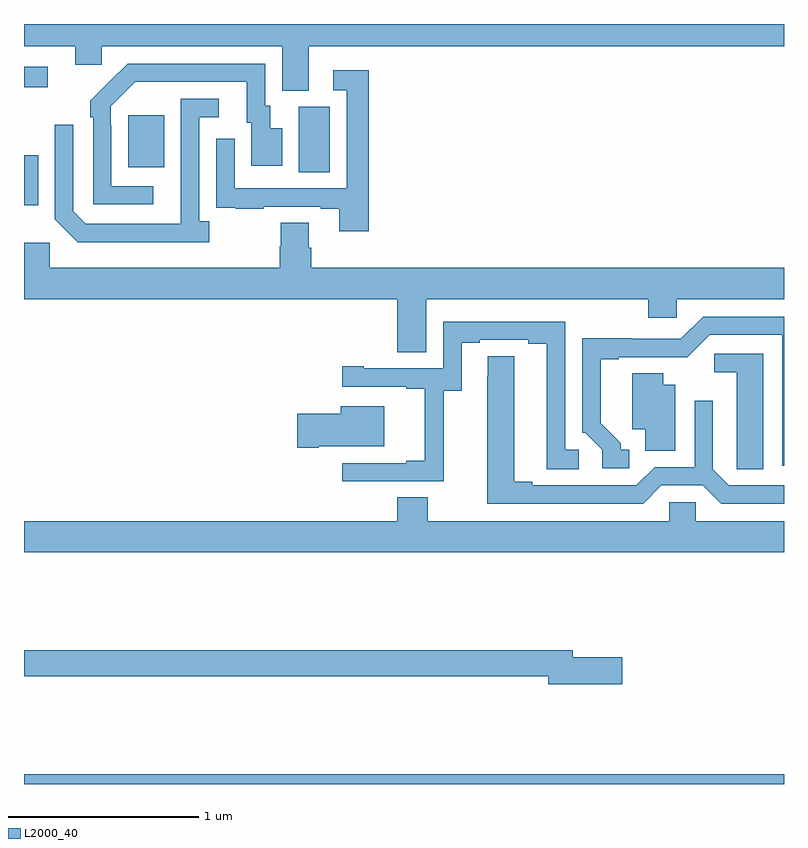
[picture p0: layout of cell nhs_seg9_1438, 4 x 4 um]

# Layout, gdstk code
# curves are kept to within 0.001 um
import gdstk
lib = gdstk.Library(unit=1e-6, precision=1e-09)
def R(c, l, rs):  # rectangles x0, y0, x1, y1
    for r in rs: c.add(gdstk.rectangle(r[:2], r[2:], *l))
def P(c, l, *ps):  # polygons
    for p in ps: c.add(gdstk.Polygon(p, *l))
L2000_40 = (2000, 40)

nhs_seg9_1438 = lib.new_cell('nhs_seg9_1438')
R(nhs_seg9_1438, L2000_40, [(191,1228.5,195,1228.552), (191,1231.546,191.074,1231.81), (192.446,1231.72,192.61,1232.064), (191.549,1231.745,191.737,1232.02), (191,1232.166,191.125,1232.274)])
P(nhs_seg9_1438, L2000_40, [(192.499,1232.384),(195,1232.384),(195,1232.5),(191,1232.5),(191,1232.384),(191.27,1232.384),(191.27,1232.286),(191.409,1232.286),(191.409,1232.384),(192.359,1232.384),(192.359,1232.149),(192.499,1232.149)],
  [(191.68,1231.647),(191.46,1231.647),(191.46,1231.967),(191.457,1231.967),(191.457,1232.067),(191.586,1232.196),(192.173,1232.196),(192.173,1231.98),(192.197,1231.98),(192.197,1231.755),(192.358,1231.755),(192.358,1231.951),(192.295,1231.951),(192.295,1232.07),(192.27,1232.07),(192.27,1232.292),(191.546,1232.292),(191.349,1232.097),(191.349,1232.009),(191.364,1232.009),(191.364,1231.551),(191.68,1231.551)],
  [(192.815,1232.257),(192.627,1232.257),(192.627,1232.151),(192.699,1232.151),(192.699,1231.635),(192.108,1231.635),(192.108,1231.897),(192.012,1231.897),(192.012,1231.642),(192.013,1231.642),(192.013,1231.533),(192.115,1231.533),(192.115,1231.527),(192.263,1231.527),(192.263,1231.539),(192.563,1231.539),(192.563,1231.527),(192.659,1231.527),(192.659,1231.41),(192.815,1231.41)],
  [(191.974,1231.462),(191.922,1231.462),(191.922,1232.01),(192.025,1232.01),(192.025,1232.106),(191.826,1232.106),(191.825,1231.449),(191.325,1231.449),(191.259,1231.515),(191.259,1231.969),(191.163,1231.969),(191.163,1231.473),(191.284,1231.352),(191.974,1231.352)],
  [(193.117,1231.052),(194.285,1231.052),(194.285,1230.954),(194.436,1230.954),(194.436,1231.052),(195,1231.052),(195,1231.216),(192.512,1231.216),(192.512,1231.322),(192.499,1231.322),(192.499,1231.454),(192.352,1231.454),(192.352,1231.329),(192.347,1231.329),(192.347,1231.216),(191.136,1231.216),(191.136,1231.348),(191,1231.348),(191,1231.052),(192.965,1231.052),(192.965,1230.772),(193.117,1230.772)],
  [(194.185,1230.258),(194.14,1230.258),(194.14,1230.293),(194.035,1230.398),(194.035,1230.735),(194.131,1230.735),(194.131,1230.747),(194.492,1230.746),(194.61,1230.864),(194.99,1230.864),(194.99,1230.174),(195,1230.174),(195,1230.96),(194.574,1230.96),(194.457,1230.843),(194.201,1230.843),(194.201,1230.845),(193.938,1230.845),(193.938,1230.348),(193.953,1230.348),(194.043,1230.258),(194.043,1230.162),(194.185,1230.162)],
  [(193.209,1230.571),(193.303,1230.571),(193.303,1230.822),(193.399,1230.822),(193.399,1230.837),(193.655,1230.837),(193.655,1230.817),(193.751,1230.817),(193.751,1230.157),(193.921,1230.157),(193.921,1230.258),(193.848,1230.258),(193.848,1230.933),(193.206,1230.933),(193.206,1230.687),(192.787,1230.687),(192.787,1230.7),(192.675,1230.7),(192.675,1230.591),(193.013,1230.591),(193.013,1230.579),(193.109,1230.579),(193.109,1230.202),(193.013,1230.202),(193.013,1230.189),(192.675,1230.189),(192.675,1230.093),(193.209,1230.093)],
  [(194.89,1230.765),(194.634,1230.765),(194.634,1230.668),(194.75,1230.668),(194.75,1230.265),(194.751,1230.265),(194.751,1230.157),(194.89,1230.157)],
  [(194.355,1230.072),(194.573,1230.072),(194.669,1229.976),(195,1229.976),(195,1230.072),(194.709,1230.072),(194.625,1230.156),(194.625,1230.517),(194.529,1230.517),(194.529,1230.168),(194.319,1230.168),(194.223,1230.072),(193.675,1230.072),(193.675,1230.092),(193.579,1230.092),(193.579,1230.752),(193.44,1230.752),(193.439,1229.976),(194.259,1229.976)],
  [(194.428,1230.601),(194.365,1230.601),(194.365,1230.662),(194.201,1230.662),(194.201,1230.368),(194.27,1230.368),(194.27,1230.253),(194.428,1230.253)],
  [(192.55,1230.278),(192.895,1230.278),(192.895,1230.487),(192.668,1230.487),(192.668,1230.449),(192.438,1230.449),(192.438,1230.271),(192.55,1230.271)],
  [(195,1229.884),(194.535,1229.884),(194.535,1229.982),(194.397,1229.982),(194.397,1229.884),(193.125,1229.884),(193.125,1230.008),(192.965,1230.008),(192.965,1229.884),(191,1229.884),(191,1229.72),(195,1229.72)],
  [(194.149,1229.168),(193.888,1229.168),(193.888,1229.204),(191,1229.204),(191,1229.068),(193.76,1229.068),(193.76,1229.026),(194.149,1229.026)])

lib.write_gds('nhs_seg9_1438.gds')
